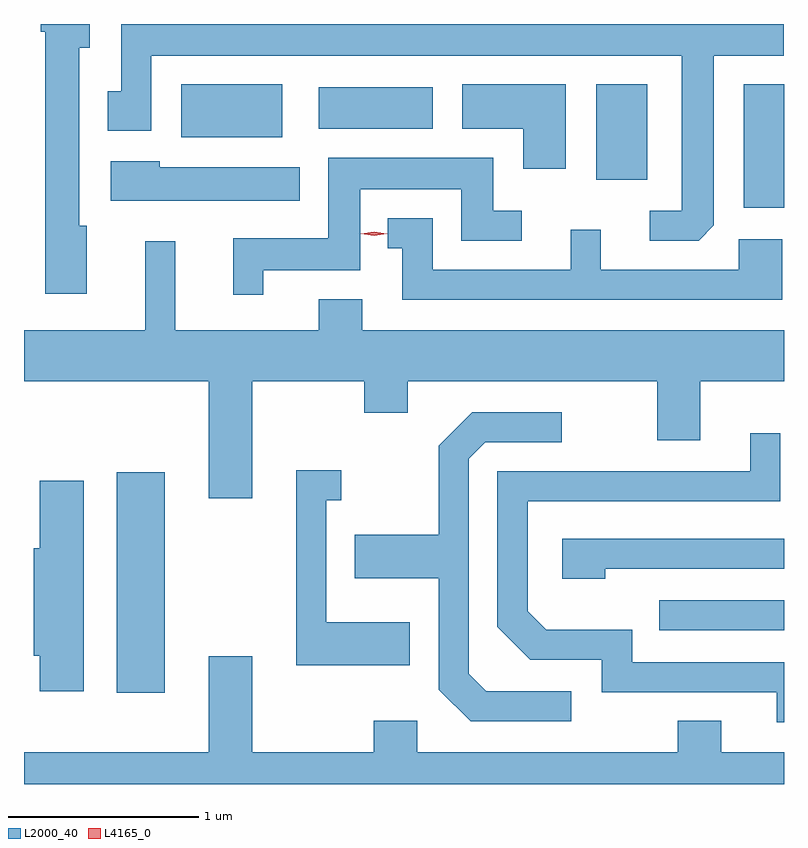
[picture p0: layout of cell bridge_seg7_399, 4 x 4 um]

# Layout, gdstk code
import gdstk
lib = gdstk.Library(unit=1e-6, precision=1e-09)
def R(c, l, rs):  # rectangles x0, y0, x1, y1
    for r in rs: c.add(gdstk.rectangle(r[:2], r[2:], *l))
def P(c, l, *ps):  # polygons
    for p in ps: c.add(gdstk.Polygon(p, *l))
L2000_40 = (2000, 40)
L4165_0 = (4165, 0)

bridge_seg7_399 = lib.new_cell('bridge_seg7_399')
R(bridge_seg7_399, L2000_40, [(1098.116,1717.116,1098.369,1718.279), (1100.973,1717.446,1101.629,1717.604), (1101.416,1719.671,1101.629,1720.319), (1100.641,1719.816,1100.909,1720.319), (1098.456,1720.041,1098.989,1720.319), (1099.181,1720.086,1099.779,1720.304)])
P(bridge_seg7_399, L2000_40, [(1097.959,1719.574),(1097.919,1719.574),(1097.919,1720.511),(1097.974,1720.511),(1097.974,1720.637),(1097.716,1720.637),(1097.716,1720.596),(1097.741,1720.596),(1097.741,1719.216),(1097.959,1719.216)],
  [(1101.259,1719.577),(1101.259,1720.471),(1101.628,1720.471),(1101.628,1720.637),(1098.141,1720.637),(1098.141,1720.284),(1098.071,1720.284),(1098.071,1720.076),(1098.299,1720.076),(1098.299,1720.471),(1101.091,1720.471),(1101.091,1719.654),(1100.923,1719.654),(1100.923,1719.496),(1101.179,1719.496)],
  [(1100.479,1720.319),(1099.936,1720.319),(1099.936,1720.086),(1100.256,1720.086),(1100.256,1719.876),(1100.479,1719.876)],
  [(1098.889,1719.341),(1099.399,1719.341),(1099.399,1719.766),(1099.931,1719.766),(1099.931,1719.496),(1100.248,1719.496),(1100.248,1719.654),(1100.099,1719.654),(1100.099,1719.934),(1099.231,1719.934),(1099.231,1719.509),(1098.731,1719.509),(1098.731,1719.213),(1098.889,1719.213)],
  [(1099.079,1719.884),(1098.344,1719.884),(1098.344,1719.914),(1098.086,1719.914),(1098.086,1719.706),(1099.079,1719.706)],
  [(1101.619,1719.504),(1101.391,1719.504),(1101.391,1719.344),(1100.664,1719.344),(1100.664,1719.553),(1100.506,1719.553),(1100.506,1719.344),(1099.779,1719.344),(1099.779,1719.614),(1099.543,1719.614),(1099.543,1719.456),(1099.621,1719.456),(1099.621,1719.186),(1101.619,1719.186)],
  [(1098.829,1718.756),(1099.421,1718.756),(1099.421,1718.591),(1099.649,1718.591),(1099.649,1718.756),(1100.961,1718.756),(1100.961,1718.446),(1101.189,1718.446),(1101.189,1718.756),(1101.629,1718.756),(1101.629,1719.024),(1099.409,1719.024),(1099.409,1719.189),(1099.181,1719.189),(1099.181,1719.024),(1098.424,1719.024),(1098.424,1719.493),(1098.266,1719.493),(1098.266,1719.024),(1097.629,1719.024),(1097.629,1718.756),(1098.601,1718.756),(1098.601,1718.141),(1098.829,1718.141)],
  [(1100.508,1717.124),(1100.062,1717.124),(1099.969,1717.217),(1099.969,1718.349),(1100.057,1718.436),(1100.458,1718.436),(1100.458,1718.594),(1099.989,1718.594),(1099.811,1718.417),(1099.811,1717.949),(1099.371,1717.949),(1099.371,1717.721),(1099.811,1717.721),(1099.811,1717.134),(1099.979,1716.966),(1100.508,1716.966)],
  [(1101.629,1717.279),(1100.829,1717.279),(1100.829,1717.449),(1100.377,1717.449),(1100.279,1717.547),(1100.279,1718.126),(1101.609,1718.126),(1101.609,1718.483),(1101.451,1718.483),(1101.451,1718.284),(1100.121,1718.284),(1100.121,1717.464),(1100.294,1717.291),(1100.671,1717.291),(1100.671,1717.121),(1101.591,1717.121),(1101.591,1716.961),(1101.629,1716.961)],
  [(1099.659,1717.489),(1099.219,1717.489),(1099.219,1718.131),(1099.298,1718.131),(1099.298,1718.289),(1099.061,1718.289),(1099.061,1717.261),(1099.659,1717.261)],
  [(1097.944,1718.234),(1097.711,1718.234),(1097.711,1717.879),(1097.681,1717.879),(1097.681,1717.311),(1097.711,1717.311),(1097.711,1717.126),(1097.944,1717.126)],
  [(1100.689,1717.771),(1101.629,1717.771),(1101.629,1717.929),(1100.461,1717.929),(1100.461,1717.716),(1100.689,1717.716)],
  [(1101.629,1716.804),(1101.299,1716.804),(1101.299,1716.969),(1101.071,1716.969),(1101.071,1716.804),(1099.699,1716.804),(1099.699,1716.969),(1099.471,1716.969),(1099.471,1716.804),(1098.829,1716.804),(1098.829,1717.309),(1098.601,1717.309),(1098.601,1716.804),(1097.629,1716.804),(1097.629,1716.637),(1101.629,1716.637)])
P(bridge_seg7_399, L4165_0, [(1099.472,1719.523),(1099.402,1719.533),(1099.402,1719.533),(1099.402,1719.534),(1099.472,1719.543),(1099.541,1719.534),(1099.541,1719.533),(1099.541,1719.533)])

lib.write_gds('bridge_seg7_399.gds')
